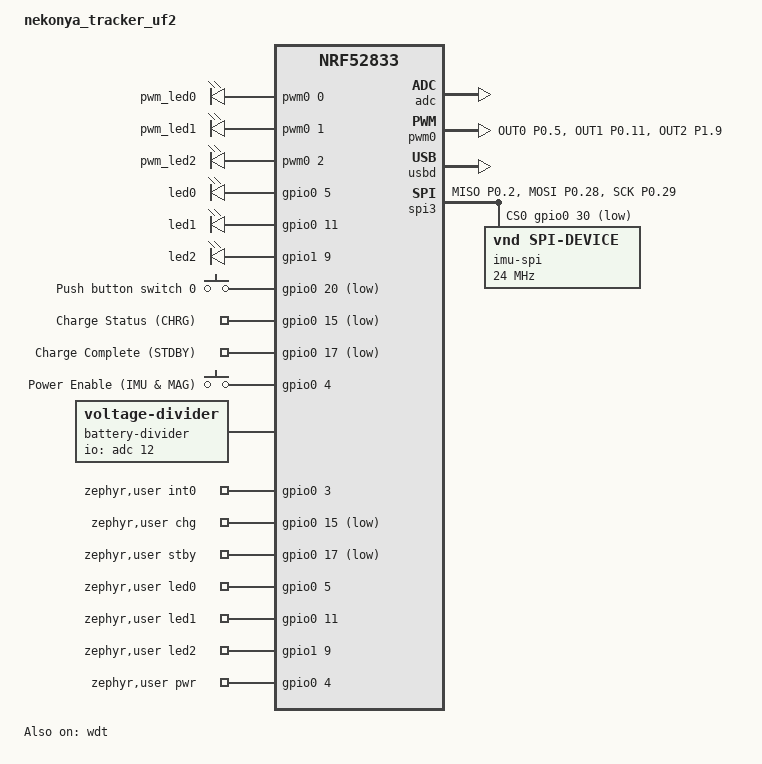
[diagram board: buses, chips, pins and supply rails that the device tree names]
// Copyright (c) 2024 Nordic Semiconductor ASA
// SPDX-License-Identifier: Apache-2.0

/dts-v1/;
#include <nordic/nrf52833_qdaa.dtsi>

&pinctrl {
    pwm0_default: pwm0_default {
        group1 {
            psels = <NRF_PSEL(PWM_OUT0, 0, 5)>,  /* 红色 LED: P0.05 */
                    <NRF_PSEL(PWM_OUT1, 0, 11)>, /* 绿色 LED: P0.11 */
                    <NRF_PSEL(PWM_OUT2, 1, 9)>;  /* 蓝色 LED: P1.09 */
            nordic,drive-mode = <NRF_DRIVE_S0S1>;
            nordic,invert; 
        };
    };

    pwm0_sleep: pwm0_sleep {
        group1 {
            psels = <NRF_PSEL(PWM_OUT0, 0, 5)>,
                    <NRF_PSEL(PWM_OUT1, 0, 11)>,
                    <NRF_PSEL(PWM_OUT2, 1, 9)>;
            low-power-enable;
        };
    };

    spi3_default: spi3_default {
        group1 {
            psels = <NRF_PSEL(SPIM_MISO, 0, 2)>,
                    <NRF_PSEL(SPIM_MOSI, 0, 28)>,
                    <NRF_PSEL(SPIM_SCK, 0, 29)>;
        };
    };

    spi3_sleep: spi3_sleep {
        group1 {
            psels = <NRF_PSEL(SPIM_MISO, 0, 2)>,
                    <NRF_PSEL(SPIM_MOSI, 0, 28)>,
                    <NRF_PSEL(SPIM_SCK, 0, 29)>;
            low-power-enable;
        };
    };
};

/ {
    model = "nekonya_tracker_uf2";
    compatible = "nekonya_tracker_uf2";

    chosen {
        zephyr,sram = &sram0;
        zephyr,flash = &flash0;
        zephyr,console = &cdc_acm_uart0;
        zephyr,shell-uart = &cdc_acm_uart0;
    };

    pwmleds {
        compatible = "pwm-leds";
        pwm_led0: pwm_led_0 {
            pwms = <&pwm0 0 PWM_MSEC(1) PWM_POLARITY_NORMAL>; /* 红色 */
        };
        pwm_led1: pwm_led_1 {
            pwms = <&pwm0 1 PWM_MSEC(1) PWM_POLARITY_NORMAL>; /* 绿色 */
        };
        pwm_led2: pwm_led_2 {
            pwms = <&pwm0 2 PWM_MSEC(1) PWM_POLARITY_NORMAL>; /* 蓝色 */
        };
    };


    leds {
        compatible = "gpio-leds";
        led0: led_0 {
            gpios = <&gpio0 5 GPIO_ACTIVE_HIGH>; /* 红色 P0.05 */
        };
        led1: led_1 {
            gpios = <&gpio0 11 GPIO_ACTIVE_HIGH>; /* 绿色 P0.11 */
        };
        led2: led_2 {
            gpios = <&gpio1 9 GPIO_ACTIVE_HIGH>; /* 蓝色 P1.09 */
        };
    };

    buttons {
        compatible = "gpio-keys";
        
        button0: button_0 {
            gpios = <&gpio0 20 (GPIO_PULL_UP | GPIO_ACTIVE_LOW)>;
            label = "Push button switch 0";
        };

        chrg_pin: chrg_pin {
            gpios = <&gpio0 15 (GPIO_PULL_UP | GPIO_ACTIVE_LOW)>;
            label = "Charge Status (CHRG)";
        };
        
        stdby_pin: stdby_pin {
            gpios = <&gpio0 17 (GPIO_PULL_UP | GPIO_ACTIVE_LOW)>;
            label = "Charge Complete (STDBY)";
        };
        
        pwr_en_pin: pwr_en_pin {
            gpios = <&gpio0 4 GPIO_ACTIVE_HIGH>;
            label = "Power Enable (IMU & MAG)";
        };
    };

    aliases {
        sw0 = &button0;
        pwm-led0 = &pwm_led0; 
        pwm-led1 = &pwm_led1; 
        pwm-led2 = &pwm_led2; 
        led0 = &led0;
        led1 = &led1;
        led2 = &led2;
    };

    battery-divider {
        compatible = "voltage-divider";
        status = "okay";
        io-channels = <&adc 12>;
        output-ohms = <1>;
        full-ohms = <5>;
    };

    zephyr,user {
        int0-gpios = <&gpio0 3 0>;
        chg_gpios = <&gpio0 15 (GPIO_PULL_UP | GPIO_ACTIVE_LOW)>;   // P0.15 = CHRG
        stby_gpios = <&gpio0 17 (GPIO_PULL_UP | GPIO_ACTIVE_LOW)>;  // P0.17 = STDBY
        led0-gpios = <&gpio0 5 GPIO_ACTIVE_HIGH>;   /* 红色 P0.05 */
        led1-gpios = <&gpio0 11 GPIO_ACTIVE_HIGH>;  /* 绿色 P0.11 */
        led2-gpios = <&gpio1 9 GPIO_ACTIVE_HIGH>;   /* 蓝色 P1.09 */
        pwr-gpios = <&gpio0 4 GPIO_ACTIVE_HIGH>;    /* IMU & MAG 电源使能 P0.04 高电平启动 */
    };
};

&reg1 {
    regulator-initial-mode = <NRF5X_REG_MODE_DCDC>;
};

&adc {
    status = "okay";
};

&gpiote {
    status = "okay";
};

&gpio0 {
    status = "okay";
};

&gpio1 {
    status = "okay";
};

&pwm0 {
    status = "okay";
    pinctrl-0 = <&pwm0_default>;
    pinctrl-1 = <&pwm0_sleep>;
    pinctrl-names = "default", "sleep";
};

zephyr_udc0: &usbd {
    compatible = "nordic,nrf-usbd";
    status = "okay";
    cdc_acm_uart0: cdc_acm_uart0 {
        compatible = "zephyr,cdc-acm-uart";
    };
};

&wdt {
	status = "okay";
};


&nfct {
    status = "disabled";
};

&spi3 {
    compatible = "nordic,nrf-spim";
    status = "okay";
    max-frequency = <DT_FREQ_M(24)>;
    pinctrl-0 = <&spi3_default>;
    pinctrl-1 = <&spi3_sleep>;
    pinctrl-names = "default", "sleep";
    cs-gpios = <&gpio0 30 GPIO_ACTIVE_LOW>;

    imu_spi: imu_spi@0 {
        compatible = "vnd,spi-device";
        spi-max-frequency = <DT_FREQ_M(24)>;
        label = "imu-spi";
        reg = <0>;
    };
};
